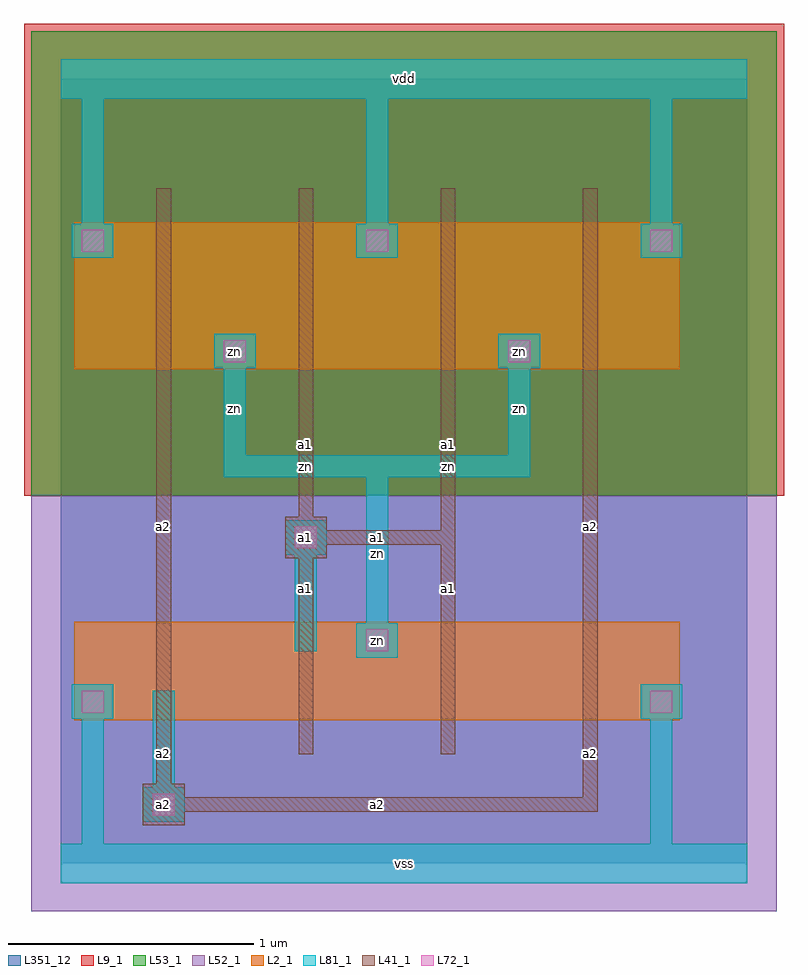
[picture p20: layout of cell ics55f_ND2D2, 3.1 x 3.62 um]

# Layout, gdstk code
import gdstk
lib = gdstk.Library(unit=1e-6, precision=1e-09)
def R(c, l, rs):  # rectangles x0, y0, x1, y1
    for r in rs: c.add(gdstk.rectangle(r[:2], r[2:], *l))
def A(c, l, x, y, w, h, nx, ny, dx, dy):  # array of equal rectangles
    R(c, l, [(x+i*dx, y+j*dy, x+i*dx+w, y+j*dy+h) for i in range(nx) for j in range(ny)])
def P(c, l, *ps):  # polygons
    for p in ps: c.add(gdstk.Polygon(p, *l))
L0_0 = (0, 0)
L2_1 = (2, 1)
L9_1 = (9, 1)
L41_1 = (41, 1)
L52_1 = (52, 1)
L53_1 = (53, 1)
L72_1 = (72, 1)
L81_1 = (81, 1)
L351_12 = (351, 12)

ics55f_nd2d2 = lib.new_cell('ics55f_ND2D2')
A(ics55f_nd2d2, L2_1, 0.055, 0.585, 0.73, 0.4, 4, 1, 0.58, 0)
A(ics55f_nd2d2, L2_1, 0.055, 2.015, 0.73, 0.6, 4, 1, 0.58, 0)
A(ics55f_nd2d2, L2_1, 0.055, 2.465, 0.15, 0.15, 3, 1, 1.16, 0)
R(ics55f_nd2d2, L2_1, [(0.055,0.585,0.205,0.735), (2.375,0.585,2.525,0.735), (1.215,0.835,1.365,0.985), (0.635,2.015,0.785,2.165), (1.795,2.015,1.945,2.165)])
R(ics55f_nd2d2, L9_1, [(-0.15,1.5,2.95,3.425)])
A(ics55f_nd2d2, L41_1, 0.39, 0.445, 0.06, 0.68, 4, 1, 0.58, 0)
A(ics55f_nd2d2, L41_1, 0.39, 1.875, 0.06, 0.88, 4, 1, 0.58, 0)
R(ics55f_nd2d2, L41_1, [(0.335,0.155,0.505,0.325), (0.39,0.21,0.45,0.69), (0.39,0.21,2.19,0.27), (2.13,0.21,2.19,0.69), (0.39,0.63,0.45,2.12), (2.13,0.63,2.19,2.12), (0.97,0.88,1.03,1.36), (1.55,0.88,1.61,1.36), (0.915,1.245,1.085,1.415), (0.97,1.3,1.61,1.36), (0.97,1.3,1.03,2.12), (1.55,1.3,1.61,2.12)])
R(ics55f_nd2d2, L52_1, [(-0.12,-0.195,2.92,1.5)])
R(ics55f_nd2d2, L53_1, [(-0.12,1.5,2.92,3.395)])
A(ics55f_nd2d2, L72_1, 0.085, 2.495, 0.09, 0.09, 3, 1, 1.16, 0)
R(ics55f_nd2d2, L72_1, [(0.375,0.195,0.465,0.285), (0.085,0.615,0.175,0.705), (2.405,0.615,2.495,0.705), (1.245,0.865,1.335,0.955), (0.955,1.285,1.045,1.375), (0.665,2.045,0.755,2.135), (1.825,2.045,1.915,2.135)])
P(ics55f_nd2d2, L81_1, [(0.335,0.17),(0.335,0.31),(0.375,0.31),(0.375,0.705),(0.465,0.705),(0.465,0.31),(0.505,0.31),(0.505,0.17)],
  [(0,-0.08),(0,0.08),(0.085,0.08),(0.085,0.59),(0.045,0.59),(0.045,0.73),(0.215,0.73),(0.215,0.59),(0.175,0.59),(0.175,0.08),(2.405,0.08),(2.405,0.59),(2.365,0.59),(2.365,0.73),(2.535,0.73),(2.535,0.59),(2.495,0.59),(2.495,0.08),(2.8,0.08),(2.8,-0.08)],
  [(0.955,0.865),(0.955,1.26),(0.915,1.26),(0.915,1.4),(1.085,1.4),(1.085,1.26),(1.045,1.26),(1.045,0.865)],
  [(1.205,0.84),(1.205,0.98),(1.245,0.98),(1.245,1.575),(0.665,1.575),(0.665,2.02),(0.625,2.02),(0.625,2.16),(0.795,2.16),(0.795,2.02),(0.755,2.02),(0.755,1.665),(1.825,1.665),(1.825,2.02),(1.785,2.02),(1.785,2.16),(1.955,2.16),(1.955,2.02),(1.915,2.02),(1.915,1.575),(1.335,1.575),(1.335,0.98),(1.375,0.98),(1.375,0.84)],
  [(0.045,2.47),(0.045,2.61),(0.085,2.61),(0.085,3.12),(0,3.12),(0,3.28),(2.8,3.28),(2.8,3.12),(2.495,3.12),(2.495,2.61),(2.535,2.61),(2.535,2.47),(2.365,2.47),(2.365,2.61),(2.405,2.61),(2.405,3.12),(1.335,3.12),(1.335,2.61),(1.375,2.61),(1.375,2.47),(1.205,2.47),(1.205,2.61),(1.245,2.61),(1.245,3.12),(0.175,3.12),(0.175,2.61),(0.215,2.61),(0.215,2.47)])
R(ics55f_nd2d2, L351_12, [(0,0,2.8,3.2)])
ics55f_nd2d2.add(gdstk.FlexPath([(0.045,0.24),(2.535,0.24)], 0, ends="flush", simple_path=True, layer=0, datatype=0))  # L0_0
ics55f_nd2d2.add(gdstk.FlexPath([(0.045,0.66),(2.535,0.66)], 0, ends="flush", simple_path=True, layer=0, datatype=0))  # L0_0
ics55f_nd2d2.add(gdstk.FlexPath([(0.045,0.91),(2.535,0.91)], 0, ends="flush", simple_path=True, layer=0, datatype=0))  # L0_0
ics55f_nd2d2.add(gdstk.FlexPath([(0.045,1.33),(2.535,1.33)], 0, ends="flush", simple_path=True, layer=0, datatype=0))  # L0_0
ics55f_nd2d2.add(gdstk.FlexPath([(0.045,1.62),(2.535,1.62)], 0, ends="flush", simple_path=True, layer=0, datatype=0))  # L0_0
ics55f_nd2d2.add(gdstk.FlexPath([(0.045,2.09),(2.535,2.09)], 0, ends="flush", simple_path=True, layer=0, datatype=0))  # L0_0
ics55f_nd2d2.add(gdstk.FlexPath([(0.045,2.54),(2.535,2.54)], 0, ends="flush", simple_path=True, layer=0, datatype=0))  # L0_0
ics55f_nd2d2.add(gdstk.FlexPath([(0.045,2.96),(2.535,2.96)], 0, ends="flush", simple_path=True, layer=0, datatype=0))  # L0_0
ics55f_nd2d2.add(gdstk.FlexPath([(0.13,0.03),(0.13,3.17)], 0, ends="flush", simple_path=True, layer=0, datatype=0))  # L0_0
ics55f_nd2d2.add(gdstk.FlexPath([(0.42,0.03),(0.42,3.17)], 0, ends="flush", simple_path=True, layer=0, datatype=0))  # L0_0
ics55f_nd2d2.add(gdstk.FlexPath([(0.71,0.03),(0.71,3.17)], 0, ends="flush", simple_path=True, layer=0, datatype=0))  # L0_0
ics55f_nd2d2.add(gdstk.FlexPath([(1,0.03),(1,3.17)], 0, ends="flush", simple_path=True, layer=0, datatype=0))  # L0_0
ics55f_nd2d2.add(gdstk.FlexPath([(1.29,0.03),(1.29,3.17)], 0, ends="flush", simple_path=True, layer=0, datatype=0))  # L0_0
ics55f_nd2d2.add(gdstk.FlexPath([(1.58,0.03),(1.58,3.17)], 0, ends="flush", simple_path=True, layer=0, datatype=0))  # L0_0
ics55f_nd2d2.add(gdstk.FlexPath([(1.87,0.03),(1.87,3.17)], 0, ends="flush", simple_path=True, layer=0, datatype=0))  # L0_0
ics55f_nd2d2.add(gdstk.FlexPath([(2.16,0.03),(2.16,3.17)], 0, ends="flush", simple_path=True, layer=0, datatype=0))  # L0_0
ics55f_nd2d2.add(gdstk.FlexPath([(2.45,0.03),(2.45,3.17)], 0, ends="flush", simple_path=True, layer=0, datatype=0))  # L0_0
ics55f_nd2d2.add(gdstk.Label('zn', (1.29,0.91), layer=2, texttype=1))
ics55f_nd2d2.add(gdstk.Label('zn', (0.71,2.09), layer=2, texttype=1))
ics55f_nd2d2.add(gdstk.Label('zn', (1.87,2.09), layer=2, texttype=1))
ics55f_nd2d2.add(gdstk.Label('a1', (1,1.12), layer=41, texttype=1))
ics55f_nd2d2.add(gdstk.Label('a1', (1.29,1.33), layer=41, texttype=1))
ics55f_nd2d2.add(gdstk.Label('a1', (1.58,1.12), layer=41, texttype=1))
ics55f_nd2d2.add(gdstk.Label('a1', (1.58,1.71), layer=41, texttype=1))
ics55f_nd2d2.add(gdstk.Label('a1', (1,1.71), layer=41, texttype=1))
ics55f_nd2d2.add(gdstk.Label('a1', (1,1.33), layer=41, texttype=1))
ics55f_nd2d2.add(gdstk.Label('a2', (0.42,0.45), layer=41, texttype=1))
ics55f_nd2d2.add(gdstk.Label('a2', (1.29,0.24), layer=41, texttype=1))
ics55f_nd2d2.add(gdstk.Label('a2', (2.16,0.45), layer=41, texttype=1))
ics55f_nd2d2.add(gdstk.Label('a2', (0.42,1.375), layer=41, texttype=1))
ics55f_nd2d2.add(gdstk.Label('a2', (2.16,1.375), layer=41, texttype=1))
ics55f_nd2d2.add(gdstk.Label('a2', (0.42,0.24), layer=41, texttype=1))
ics55f_nd2d2.add(gdstk.Label('zn', (1.29,0.91), layer=72, texttype=1))
ics55f_nd2d2.add(gdstk.Label('zn', (0.71,2.09), layer=72, texttype=1))
ics55f_nd2d2.add(gdstk.Label('zn', (1.87,2.09), layer=72, texttype=1))
ics55f_nd2d2.add(gdstk.Label('a1', (1,1.33), layer=72, texttype=1))
ics55f_nd2d2.add(gdstk.Label('a2', (0.42,0.24), layer=72, texttype=1))
ics55f_nd2d2.add(gdstk.Label('zn', (1.29,0.91), layer=81, texttype=6))
ics55f_nd2d2.add(gdstk.Label('zn', (0.71,2.09), layer=81, texttype=6))
ics55f_nd2d2.add(gdstk.Label('zn', (1.87,2.09), layer=81, texttype=6))
ics55f_nd2d2.add(gdstk.Label('zn', (1.29,1.265), layer=81, texttype=6))
ics55f_nd2d2.add(gdstk.Label('zn', (1,1.62), layer=81, texttype=6))
ics55f_nd2d2.add(gdstk.Label('zn', (0.71,1.855), layer=81, texttype=6))
ics55f_nd2d2.add(gdstk.Label('zn', (1.58,1.62), layer=81, texttype=6))
ics55f_nd2d2.add(gdstk.Label('zn', (1.87,1.855), layer=81, texttype=6))
ics55f_nd2d2.add(gdstk.Label('a1', (1,1.33), layer=81, texttype=6))
ics55f_nd2d2.add(gdstk.Label('a1', (1,1.12), layer=81, texttype=6))
ics55f_nd2d2.add(gdstk.Label('a2', (0.42,0.24), layer=81, texttype=6))
ics55f_nd2d2.add(gdstk.Label('a2', (0.42,0.45), layer=81, texttype=6))
ics55f_nd2d2.add(gdstk.Label('vss', (1.4,0), layer=81, texttype=6))
ics55f_nd2d2.add(gdstk.Label('vdd', (1.4,3.2), layer=81, texttype=6))

lib.write_gds('ics55f_ND2D2.gds')
